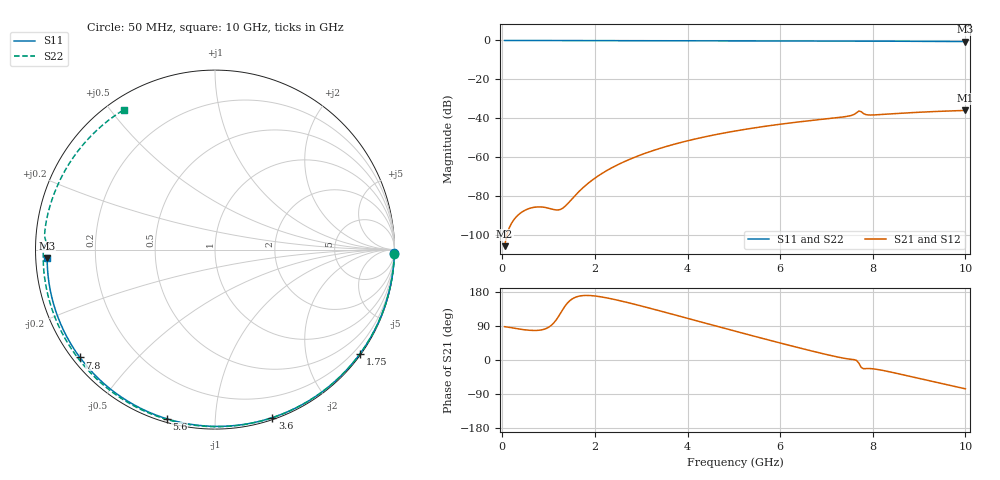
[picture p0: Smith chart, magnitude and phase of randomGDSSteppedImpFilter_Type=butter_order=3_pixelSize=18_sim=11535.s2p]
! freq	dB(S11)	phase(S11)	dB(S12)	phase(S12)
!  dB(S21)	phase(S21)	dB(S22)	phase(S22)
!S-par simulation data
#  GHz  S  DB  R 50
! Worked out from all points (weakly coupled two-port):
!   200 points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, 50 MHz to 10 GHz, reference 50 ohm
!   highest |S21| = -36.02 dB at 10 GHz (marker M1); lowest = -105.9 dB at 50 MHz (marker M2)
!   lowest |S11| = -0.6 dB at 10 GHz (marker M3), VSWR 30.48, Z = 1.64 - j1.3 ohm
!   |S11| at or under -10 dB: nowhere
!   |S22| runs from -0.6 to 0.0 dB; largest |S21 - S12| = 0
!   S11 on the Smith chart (normalised r, x): 50 MHz: open; 1.75 GHz: 0.03, -3.10; 3.6 GHz: 0.02, -1.40; 5.6 GHz: 0.02, -0.75; 7.8 GHz: 0.02, -0.35; 10 GHz: 0.03, -0.03
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0.05  -0.00 -1.0  -105.86 87.9  -105.86 87.9  -0.00 -1.4
0.75  -0.02 -15.5  -85.68 78.1  -85.68 78.1  -0.03 -20.8
1.55  -0.04 -31.8  -80.37 164.0  -80.37 164.0  -0.05 -42.4
1.75  -0.05 -35.8  -75.61 170.1  -75.61 170.1  -0.06 -47.7
2.05  -0.05 -41.7  -70.03 168.2  -70.03 168.2  -0.07 -55.4
2.45  -0.06 -49.5  -64.47 159.0  -64.47 159.0  -0.08 -65.6
2.9  -0.08 -58.1  -59.71 145.7  -59.71 145.7  -0.10 -76.8
3.4  -0.09 -67.5  -55.56 129.7  -55.56 129.7  -0.11 -88.8
3.6  -0.10 -71.1  -54.15 123.2  -54.15 123.2  -0.12 -93.5
4.3  -0.12 -83.7  -49.98 100.1  -49.98 100.1  -0.15 -109.4
5.05  -0.15 -96.7  -46.50 75.4  -46.50 75.4  -0.19 -125.9
5.6  -0.18 -106.0  -44.43 57.6  -44.43 57.6  -0.22 -137.7
6.15  -0.21 -115.0  -42.65 40.1  -42.65 40.1  -0.25 -149.4
6.7  -0.24 -123.9  -41.11 23.2  -41.11 23.2  -0.30 -161.1
7.5  -0.30 -136.7  -38.81 2.3  -38.81 2.3  -0.38 -178.4
7.6  -0.32 -138.3  -38.01 0.8  -38.01 0.8  -0.41 179.3
7.7  -0.32 -139.8  -36.31 -8.4  -36.31 -8.4  -0.52 177.4
7.8  -0.32 -141.4  -37.65 -23.0  -37.65 -23.0  -0.44 175.8
7.95  -0.34 -143.8  -38.37 -22.7  -38.37 -22.7  -0.41 172.3
8.35  -0.38 -150.2  -37.85 -30.8  -37.85 -30.8  -0.45 163.1
9.15  -0.47 -163.0  -36.77 -52.8  -36.77 -52.8  -0.53 144.4
10  -0.57 -177.0  -36.02 -76.0  -36.02 -76.0  -0.63 123.1
